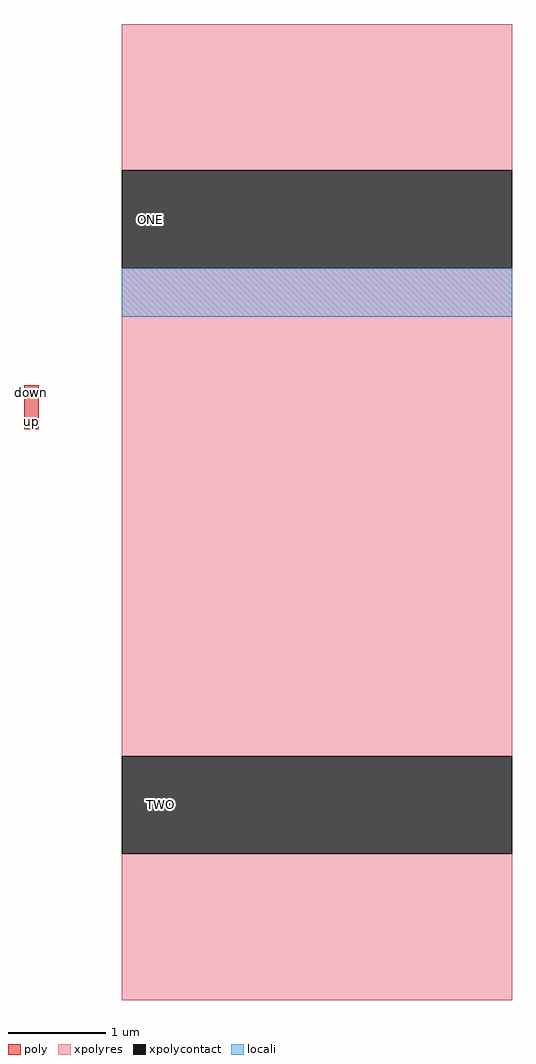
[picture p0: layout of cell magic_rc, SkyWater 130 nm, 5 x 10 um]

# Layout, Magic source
magic
tech sky130A
<< poly >>
rect 0 -15 15 30
<< xpolycontact >>
rect 100 150 500 250
rect 100 -450 500 -350
<< xpolyres >>
rect 100 250 500 400
rect 100 -350 500 150
rect 100 -600 500 -450
<< locali >>
rect 100 100 500 150
<< labels >>
rlabel poly 5 -10 10 -5 1 up
rlabel poly 5 20 10 25 1 down
rlabel xpolycontact 130 -410 150 -390 1 TWO
rlabel xpolycontact 120 190 140 210 1 ONE
<< end >>
